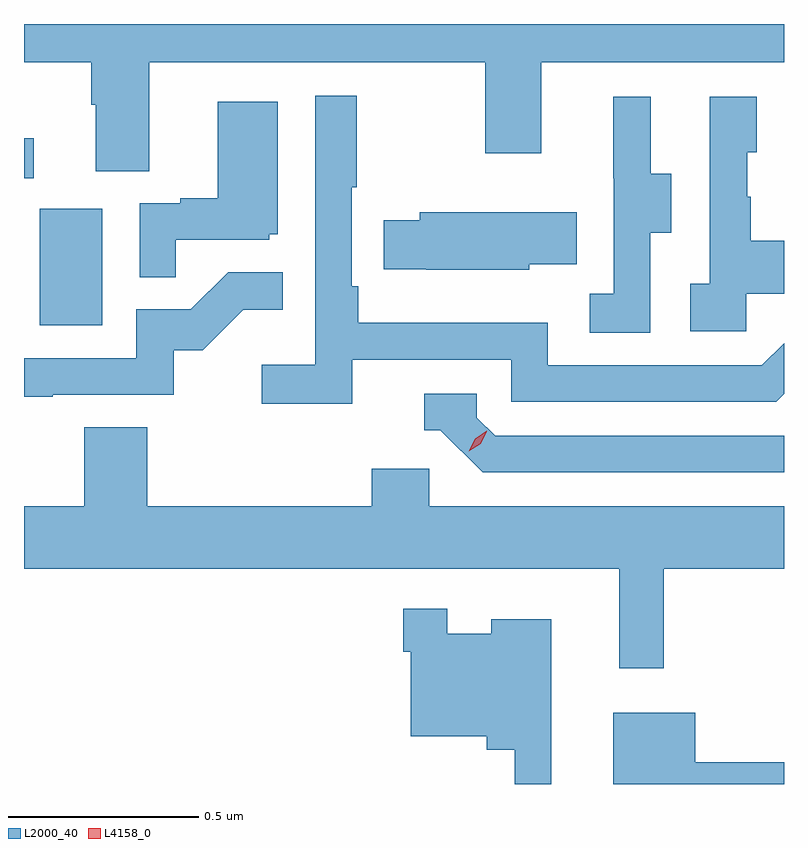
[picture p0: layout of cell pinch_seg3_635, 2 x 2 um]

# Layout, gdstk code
import gdstk
lib = gdstk.Library(unit=1e-6, precision=1e-09)
def R(c, l, rs):  # rectangles x0, y0, x1, y1
    for r in rs: c.add(gdstk.rectangle(r[:2], r[2:], *l))
def P(c, l, *ps):  # polygons
    for p in ps: c.add(gdstk.Polygon(p, *l))
L2000_40 = (2000, 40)
L4158_0 = (4158, 0)

pinch_seg3_635 = lib.new_cell('pinch_seg3_635')
R(pinch_seg3_635, L2000_40, [(1053.32,680.244,1053.484,680.551), (1053.278,680.631,1053.304,680.737)])
P(pinch_seg3_635, L2000_40, [(1053.607,680.936),(1054.492,680.936),(1054.492,680.697),(1054.639,680.697),(1054.639,680.936),(1055.278,680.936),(1055.278,681.037),(1053.278,681.037),(1053.278,680.936),(1053.455,680.936),(1053.455,680.824),(1053.467,680.824),(1053.467,680.65),(1053.607,680.65)],
  [(1054.142,680.154),(1054.56,680.154),(1054.56,680.043),(1055.257,680.043),(1055.278,680.064),(1055.278,680.197),(1055.22,680.139),(1054.656,680.139),(1054.656,680.251),(1054.157,680.251),(1054.157,680.347),(1054.14,680.347),(1054.14,680.608),(1054.153,680.608),(1054.153,680.848),(1054.044,680.848),(1054.044,680.14),(1053.903,680.14),(1053.903,680.038),(1054.142,680.038)],
  [(1055.178,680.327),(1055.278,680.327),(1055.278,680.467),(1055.191,680.467),(1055.191,680.582),(1055.181,680.582),(1055.181,680.7),(1055.206,680.7),(1055.206,680.845),(1055.082,680.845),(1055.082,680.354),(1055.031,680.354),(1055.031,680.229),(1055.178,680.229)],
  [(1054.926,680.488),(1054.981,680.488),(1054.981,680.643),(1054.927,680.643),(1054.927,680.845),(1054.829,680.845),(1054.829,680.631),(1054.83,680.631),(1054.83,680.327),(1054.767,680.327),(1054.767,680.224),(1054.926,680.224)],
  [(1053.677,680.469),(1053.924,680.469),(1053.924,680.484),(1053.946,680.484),(1053.946,680.833),(1053.788,680.833),(1053.788,680.578),(1053.689,680.578),(1053.689,680.565),(1053.582,680.565),(1053.582,680.371),(1053.677,680.371)],
  [(1054.608,680.405),(1054.733,680.405),(1054.733,680.542),(1054.319,680.542),(1054.319,680.52),(1054.225,680.52),(1054.225,680.391),(1054.336,680.391),(1054.336,680.39),(1054.608,680.39)],
  [(1053.353,680.061),(1053.672,680.061),(1053.672,680.178),(1053.748,680.178),(1053.855,680.285),(1053.959,680.285),(1053.959,680.384),(1053.815,680.384),(1053.717,680.286),(1053.573,680.286),(1053.573,680.157),(1053.278,680.157),(1053.278,680.056),(1053.353,680.056)],
  [(1055.278,679.953),(1054.518,679.953),(1054.47,680.001),(1054.47,680.064),(1054.331,680.064),(1054.331,679.968),(1054.374,679.968),(1054.485,679.857),(1055.278,679.857)],
  [(1054.961,679.604),(1055.278,679.604),(1055.278,679.768),(1054.344,679.768),(1054.344,679.866),(1054.193,679.866),(1054.193,679.768),(1053.602,679.768),(1053.602,679.976),(1053.437,679.976),(1053.437,679.768),(1053.278,679.768),(1053.278,679.604),(1054.844,679.604),(1054.844,679.341),(1054.961,679.341)],
  [(1054.666,679.471),(1054.508,679.471),(1054.508,679.432),(1054.392,679.432),(1054.392,679.498),(1054.276,679.498),(1054.276,679.385),(1054.296,679.385),(1054.296,679.163),(1054.496,679.163),(1054.496,679.127),(1054.569,679.127),(1054.569,679.037),(1054.666,679.037)],
  [(1055.278,679.094),(1055.044,679.094),(1055.044,679.225),(1054.829,679.225),(1054.829,679.037),(1055.278,679.037)])
P(pinch_seg3_635, L4158_0, [(1054.449,679.913),(1054.449,679.913),(1054.465,679.946),(1054.496,679.966),(1054.496,679.966),(1054.496,679.965),(1054.48,679.932),(1054.449,679.913)])

lib.write_gds('pinch_seg3_635.gds')
